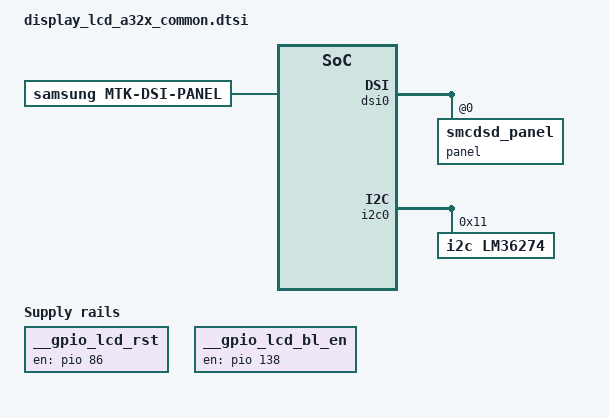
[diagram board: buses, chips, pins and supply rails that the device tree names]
/*
 * SAMSUNG LCD Panel Device Tree Source
 *
 * Copyright (c) Samsung Electronics Co., Ltd.
 *		http://www.samsung.com
 *
 * This program is free software; you can redistribute it and/or modify
 * it under the terms of the GNU General Public License version 2 as
 * published by the Free Software Foundation.
 */

/ {
	fragment@led {
		target-path = "/disp_leds/";
		__overlay__ {
			compatible;
		};
	};

	fragment@pwm {
		target-path = "/pwmleds/";
		__overlay__ {
			compatible;
		};
	};

	fragment@lcd {
		target-path = "/";
		__overlay__ {
			panel {
				compatible = "samsung,mtk-dsi-panel";
				smcdsd_panel = <&ili9882n>;
			};

			lcd_fixed_regulator: lcd_fixed_regulator {
				compatible = "simple-bus";

				__gpio_lcd_rst: __gpio_lcd_rst {
					compatible = "regulator-fixed";
					regulator-name = "gpio_lcd_rst";
					gpio = <&pio 86 0>;	/* LCD_RST */
					enable-active-high;
					regulator-boot-on;
				};
				__gpio_lcd_bl_en: __gpio_lcd_bl_en {
					compatible = "regulator-fixed";
					regulator-name = "gpio_lcd_bl_en";
					gpio = <&pio 138 0>;	/* LCD_BL_EN */
					enable-active-high;
					regulator-boot-on;
				};
			};

			smcdsd_board_ili9882n: smcdsd_board_ili9882n {
				gpio_con = <&pio 38 0x0>;	/* LCD_CON_DET */
				//gpio_det = <&pio 6 0x1>;	/* LCD_ESD_DET */

				panel_power_enable {
					type =
					"regulator,enable",	"vcamio",
					"delay,usleep",	"2000",
					"regulator,enable",	"gpio_lcd_bl_en",
					"delay,usleep",	"2000";
				};
				panel_power_disable {
					type =
					"delay,usleep",	"3000",
					"regulator,disable",	"gpio_lcd_bl_en",
					"delay,usleep",	"5000",
					"regulator,disable",	"vcamio",
					"delay,usleep",	"5000";
				};
				panel_reset_enable {
					type =
					"delay,usleep",	"4000",
					"regulator,enable",	"gpio_lcd_rst",
					"delay,usleep",	"1000",
					"regulator,disable",	"gpio_lcd_rst",
					"delay,usleep",	"1000",
					"regulator,enable",	"gpio_lcd_rst",
					"delay,msleep",	"25";
				};
				panel_reset_disable {
					type =
					"delay,msleep",	"90",
					"regulator,disable",	"gpio_lcd_rst",
					"delay,usleep",	"5000";
				};
				panel_regulator_init {
					type =
					"regulator,enable",	"vcamio",
					"regulator,enable",	"gpio_lcd_rst",
					"regulator,enable",	"gpio_lcd_bl_en";
				};
			};

			ili9882n: ili9882n {
				/* id_match: MASK(HEX) EXPECT(HEX) */
				id_match = <
					0xFFFFFF 0x0A7250	/* A12 */
					0xFFFFFF 0x9A7250	/* A32X */
				>;
				lcm_params-types = <2>; /* 0: LCM_TYPE_DBI, 1: LCM_TYPE_DPI, 2: LCM_TYPE_DSI */
				lcm_params-dsi-mode = <3>;	/* 0: CMD, 1: SYNC_PULSE_VDO, 2: SYNC_EVENT_VDO, 3: BURST_VDO */
				lcm_params-dsi-lane_num = <4>;
				lcm_params-dsi-packet_size = <256>;
				lcm_params-dsi-ps = <2>; /* 2: LCM_PACKED_PS_24BIT_RGB888 */

				lcm_params-resolution = <720 1600>;
				lcm_params-physical_width = <68>;		/* 67.932 x 150.96 */
				lcm_params-physical_height = <151>;

				lcm_params-dsi-vertical_sync_active = <4>;
				lcm_params-dsi-vertical_backporch = <16>;
				lcm_params-dsi-vertical_frontporch = <250>;
				lcm_params-dsi-horizontal_sync_active = <28>;
				lcm_params-dsi-horizontal_backporch = <75>;
				lcm_params-dsi-horizontal_frontporch = <75>;

				lcm_params-dsi-data_rate = <639>;
				lcm_params-dsi-ssc_disable = <1>;
				lcm_params-dsi-cont_clock = <1>;

				drm_params-vrefresh = <60>;

				smcdsd_board = <&smcdsd_board_ili9882n>;
			};

			smcdsd_board_nt36525b: smcdsd_board_nt36525b {
				gpio_con = <&pio 38 0x0>;	/* LCD_CON_DET */
				//gpio_det = <&pio 6 0x1>;	/* LCD_ESD_DET */

				panel_power_enable {
					type =
					"regulator,enable",	"vcamio",
					"delay,usleep",	"2000",
					"regulator,enable",	"gpio_lcd_bl_en",
					"delay,usleep",	"2000";
				};
				panel_power_disable {
					type =
					"delay,usleep",	"3000",
					"regulator,disable",	"gpio_lcd_bl_en",
					"delay,usleep",	"5000",
					"regulator,disable",	"vcamio",
					"delay,msleep",	"33";
				};
				panel_reset_enable {
					type =
					"delay,usleep",	"10000",
					"regulator,enable",	"gpio_lcd_rst",
					"delay,usleep",	"5000",
					"regulator,disable",	"gpio_lcd_rst",
					"delay,usleep",	"3500",
					"regulator,enable",	"gpio_lcd_rst",
					"delay,usleep",	"10000";
				};
				panel_reset_disable {
					type =
					"delay,msleep",	"60",
					"regulator,disable",	"gpio_lcd_rst",
					"delay,usleep",	"5000";
				};
				panel_regulator_init {
					type =
					"regulator,enable",	"vcamio",
					"regulator,enable",	"gpio_lcd_rst",
					"regulator,enable",	"gpio_lcd_bl_en";
				};
			};

			nt36525b: nt36525b {
				/* id_match: MASK(HEX) EXPECT(HEX) */
				id_match = <
					0xFFFFFF 0x2AF240	/* A32X */
				>;
				lcm_params-types = <2>; /* 0: LCM_TYPE_DBI, 1: LCM_TYPE_DPI, 2: LCM_TYPE_DSI */
				lcm_params-dsi-mode = <3>;	/* 0: CMD, 1: SYNC_PULSE_VDO, 2: SYNC_EVENT_VDO, 3: BURST_VDO */
				lcm_params-dsi-lane_num = <4>;
				lcm_params-dsi-packet_size = <256>;
				lcm_params-dsi-ps = <2>; /* 2: LCM_PACKED_PS_24BIT_RGB888 */

				lcm_params-resolution = <720 1600>;
				lcm_params-physical_width = <68>;		/* 67.932 x 150.96 */
				lcm_params-physical_height = <151>;

				lcm_params-dsi-vertical_sync_active = <2>;
				lcm_params-dsi-vertical_backporch = <254>;
				lcm_params-dsi-vertical_frontporch = <18>;
				lcm_params-dsi-horizontal_sync_active = <30>;
				lcm_params-dsi-horizontal_backporch = <50>;
				lcm_params-dsi-horizontal_frontporch = <90>;

				lcm_params-dsi-data_rate = <639>;
				lcm_params-dsi-ssc_disable = <1>;
				lcm_params-dsi-cont_clock = <1>;

				drm_params-vrefresh = <60>;

				smcdsd_board = <&smcdsd_board_nt36525b>;
			};
		};
	};
};

&dsi0 {
	panel@0 {
		compatible = "smcdsd_panel";
		pm-enable-gpios;
		reset-gpios;
		bias-gpios;
	};
};

&i2c0 {
	status = "okay";

	lm36274@11 {
		compatible = "i2c,lm36274";
		reg = <0x11>;
	};
};

/* dts clean section */
&led6 {
	compatible;
};

&i2c_lcd_bias_mtk {
	compatible;
	reg;
	status = "disabled";
};

